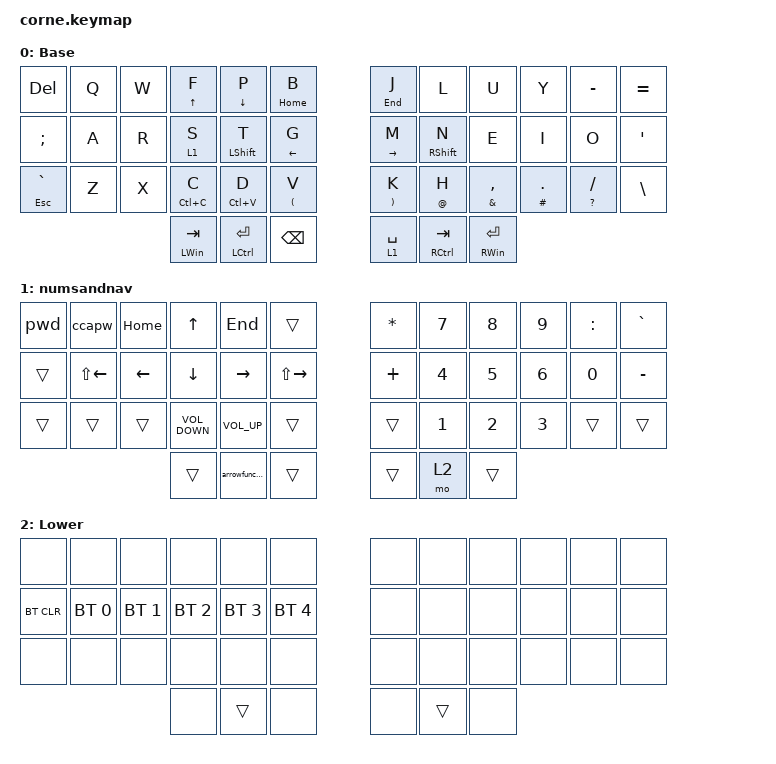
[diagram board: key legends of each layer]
/*
 * Copyright (c) 2020 The ZMK Contributors
 *
 * SPDX-License-Identifier: MIT
 */

#include <behaviors.dtsi>
#include <dt-bindings/zmk/bt.h>
#include <dt-bindings/zmk/keys.h>

/ {
    combos {
        compatible = "zmk,combos";

        capswordcombo {
            bindings = <&caps_word>;
            key-positions = <16 19>;
        };

        pingandpatecombo {
            bindings = <&pingandPaste>;
            key-positions = <4 5>;
        };

        cls {
            bindings = <&CLS_Enter>;
            key-positions = <3 4 5>;
            layers = <0>;
        };

        jumptoend {
            bindings = <&kp END>;
            key-positions = <3 4>;
        };

        gohome {
            bindings = <&kp HOME>;
            key-positions = <2 3>;
        };

        arrowfuncactive {
            bindings = <&arrowfunction>;
            key-positions = <38 39>;
        };

        ACTIVATelyayrebt {
            bindings = <&mo 2>;
            key-positions = <19 20 21 22>;
        };
    };

    macros {
        arrowfunction: arrowfunction {
            compatible = "zmk,behavior-macro";
            #binding-cells = <0>;
            bindings = <&kp EQUAL &kp GT>;
            label = "ARROWFUNCTION";
        };

        pwd: pwd {
            compatible = "zmk,behavior-macro";
            #binding-cells = <0>;
            bindings = <&kp LS(P) &kp AT &kp DLLR &kp DLLR &kp W &kp N0 &kp R &kp D &kp EXCL &kp AT &kp POUND &kp AMPERSAND>;
            label = "PWD";
        };

        triplegrave: triplegrave {
            compatible = "zmk,behavior-macro";
            #binding-cells = <0>;
            bindings = <&kp GRAVE &kp GRAVE &kp GRAVE>;
            label = "TRIPLEGRAVE";
        };

        ccapw: ccapw {
            compatible = "zmk,behavior-macro";
            #binding-cells = <0>;
            bindings = <&none &kp J &kp E &kp F &kp F &kp P &kp A &kp N &kp C &kp E &kp R &kp Z &kp AT &kp EXCL &kp POUND &kp DLLR &kp N1>;
            label = "CCAPW";
        };

        pingandPaste: pingandPaste {
            compatible = "zmk,behavior-macro";
            #binding-cells = <0>;
            bindings = <&kp P &kp I &kp N &kp G &kp SPACE &kp LC(V) &kp SPACE &kp MINUS &kp T &kp ENTER>;
            label = "PINGANDPASTE";
        };

        CLS_Enter: CLS_Enter {
            compatible = "zmk,behavior-macro";
            #binding-cells = <0>;
            bindings = <&kp C &kp L &kp S &kp SPACE &kp RET>;
            label = "CLS_ENTER";
        };
    };

    behaviors {
        hrm: hrm {
            compatible = "zmk,behavior-hold-tap";
            label = "HRM";
            bindings = <&kp>, <&kp>;

            #binding-cells = <2>;
            tapping-term-ms = <200>;
            quick-tap-ms = <170>;
            flavor = "tap-preferred";
            require-prior-idle-ms = <0>;
        };

        spaceandlayer: spaceandlayer {
            compatible = "zmk,behavior-hold-tap";
            label = "SPACEANDLAYER";
            bindings = <&mo>, <&kp>;

            #binding-cells = <2>;
            tapping-term-ms = <175>;
            quick-tap-ms = <150>;
            flavor = "balanced";
        };

        tapdance: tapdance {
            compatible = "zmk,behavior-hold-tap";
            label = "TAPDANCE";
            bindings = <&kp>, <&kp>;

            #binding-cells = <2>;
            tapping-term-ms = <200>;
            quick-tap-ms = <170>;
            flavor = "tap-preferred";
        };
    };

    keymap {
        compatible = "zmk,keymap";

        HomeLayer {
            // -----------------------------------------------------------------------------------------
            // |  TAB |  Q  |  W  |  E  |  R  |  T  |   |  Y  |  U   |  I  |  O  |  P  | BKSP |
            // | CTRL |  A  |  S  |  D  |  F  |  G  |   |  H  |  J   |  K  |  L  |  ;  |  '   |
            // | SHFT |  Z  |  X  |  C  |  V  |  B  |   |  N  |  M   |  ,  |  .  |  /  | ESC  |
            //                    | GUI | LWR | SPC |   | ENT | RSE  | ALT |

            display-name = "Base";
            bindings = <
&kp DELETE              &kp Q  &kp W  &tapdance UP_ARROW F  &tapdance DOWN_ARROW P  &tapdance HOME B                &tapdance END J                &kp L           &kp U                      &kp Y                  &kp MINUS                 &kp EQUAL
&kp SEMICOLON           &kp A  &kp R  &spaceandlayer 1 S    &hrm LEFT_SHIFT T       &tapdance LEFT_ARROW G          &tapdance RIGHT_ARROW M        &hrm RSHIFT N   &kp E                      &kp I                  &kp O                     &kp SINGLE_QUOTE
&tapdance ESCAPE GRAVE  &kp Z  &kp X  &tapdance LC(C) C     &tapdance LC(V) D       &tapdance LEFT_PARENTHESIS V    &tapdance RIGHT_PARENTHESIS K  &tapdance AT H  &tapdance AMPERSAND COMMA  &tapdance HASH PERIOD  &tapdance QUESTION SLASH  &kp BACKSLASH
                                      &hrm LEFT_WIN TAB     &hrm LCTRL ENTER        &kp BACKSPACE                   &spaceandlayer 1 SPACE         &hrm RCTRL TAB  &hrm RWIN ENTER
            >;
        };

        numsandnav {
            bindings = <
&pwd    &ccapw              &kp HOME  &kp UP_ARROW       &kp END          &trans                 &kp ASTRK  &kp N7  &kp N8  &kp N9  &kp COLON  &kp GRAVE
&trans  &kp LS(LEFT_ARROW)  &kp LEFT  &kp DOWN           &kp RIGHT_ARROW  &kp LS(RIGHT_ARROW)    &kp PLUS   &kp N4  &kp N5  &kp N6  &kp N0     &kp MINUS
&trans  &trans              &trans    &kp C_VOLUME_DOWN  &kp C_VOLUME_UP  &trans                 &trans     &kp N1  &kp N2  &kp N3  &trans     &trans
                                      &trans             &arrowfunction   &trans                 &trans     &mo 2   &trans
            >;
        };

        BTLayer {
            // -----------------------------------------------------------------------------------------
            // |  TAB |  1  |  2  |  3  |  4  |  5  |   |  6  |  7  |  8  |  9  |  0  | BKSP |
            // | BTCLR| BT1 | BT2 | BT3 | BT4 | BT5 |   | LFT | DWN |  UP | RGT |     |      |
            // | SHFT |     |     |     |     |     |   |     |     |     |     |     |      |
            //                    | GUI |     | SPC |   | ENT |     | ALT |

            display-name = "Lower";
            bindings = <
&none       &none         &none         &none         &none         &none           &none  &none   &none  &none  &none  &none
&bt BT_CLR  &bt BT_SEL 0  &bt BT_SEL 1  &bt BT_SEL 2  &bt BT_SEL 3  &bt BT_SEL 4    &none  &none   &none  &none  &none  &none
&none       &none         &none         &none         &none         &none           &none  &none   &none  &none  &none  &none
                                        &none         &trans        &none           &none  &trans  &none
            >;
        };
    };
};
